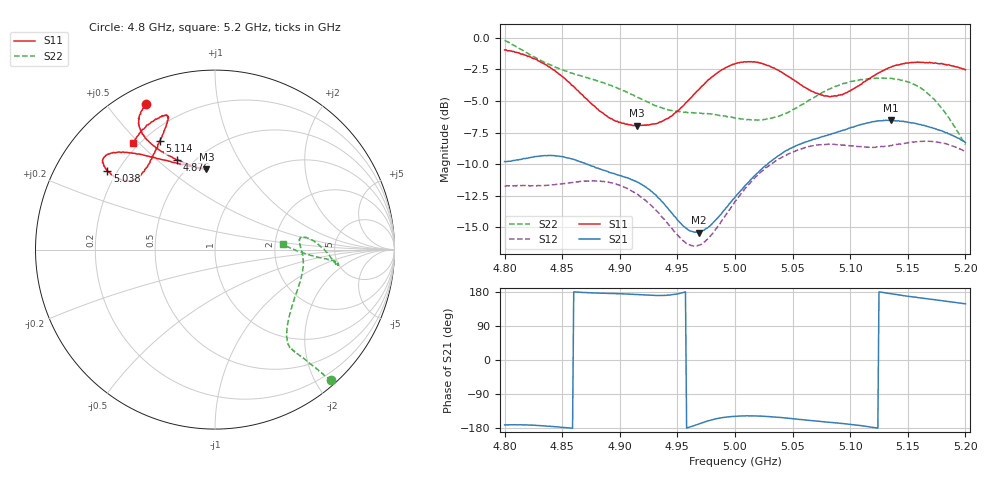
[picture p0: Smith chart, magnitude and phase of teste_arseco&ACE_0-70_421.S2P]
! Network Analyzer HP8722D
! Hewlett-Packard
! Data name: Linha & Wilkinson
! Saver's name: Rodrigo Anjos
! Comments: Teste da utilização de aquisição
! continua pelo VNA HP8722D
! Time and date: 8/5/2025 16:16
!  Frequency  S11  S21  S12  S22
# HZ  S  MA R 50
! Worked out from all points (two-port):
!   401 points, 4.8 GHz to 5.2 GHz, reference 50 ohm
!   highest |S21| = -6.52 dB at 5.135 GHz (marker M1); lowest = -15.4 dB at 4.969 GHz (marker M2)
!   |S21| within 3 dB of the highest: 4.821 GHz to 4.855 GHz (34.4 MHz wide, 0.711 % of centre); 5.035 GHz to end of sweep
!   lowest |S11| = -7.0 dB at 4.915 GHz (marker M3), VSWR 2.63, Z = 30.8 + j34.4 ohm
!   |S11| at or under -10 dB: nowhere
!   |S22| runs from -8.5 to -0.2 dB; largest |S21 - S12| = 0.83
!   S11 on the Smith chart (normalised r, x): 4.8 GHz: 0.08, +0.63; 4.876 GHz: 0.41, +0.58; 5.038 GHz: 0.16, +0.32; 5.114 GHz: 0.26, +0.58; 5.2 GHz: 0.18, +0.48
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4.8e9  0.8955 115.3  0.3236 -171.3  0.2592 -86.5  0.9758 -48.3
4.819e9  0.8507 119.8  0.3335 -171.4  0.2591 -82.5  0.8734 -49.6
4.835e9  0.7859 121.9  0.3417 -174.0  0.2603 -77.2  0.7984 -50.6
4.851e9  0.6967 121.3  0.3376 -178.0  0.2647 -72.0  0.7453 -51.5
4.867e9  0.597 117.1  0.3214 178.4  0.2701 -68.5  0.705 -52.3
4.876e9  0.5448 113.2  0.3104 177.2  0.2713 -67.6  0.6852 -52.7
4.899e9  0.4625 100.8  0.2858 174.9  0.2619 -68.1  0.629 -50.5
4.915e9  0.4488 96.1  0.2685 172.5  0.2405 -69.9  0.5828 -46.1
4.934e9  0.4624 100.6  0.2312 170.2  0.202 -70.5  0.5322 -36.4
4.956e9  0.5432 116.2  0.1785 178.7  0.1562 -59.6  0.507 -22.0
4.969e9  0.6261 124.6  0.1694 -168.1  0.1512 -44.9  0.5041 -14.4
5e9  0.7888 137.0  0.2336 -148.7  0.2249 -22.0  0.4808 -0.3
5.018e9  0.8009 141.3  0.287 -147.6  0.2816 -19.7  0.4733 5.5
5.038e9  0.7431 143.8  0.3416 -151.3  0.3317 -20.1  0.4894 8.1
5.067e9  0.6136 141.5  0.3951 -160.1  0.3736 -22.5  0.5745 3.0
5.087e9  0.5897 132.8  0.4202 -165.9  0.3779 -25.5  0.642 -3.3
5.114e9  0.6776 117.1  0.4591 -175.4  0.369 -28.4  0.6858 -7.1
5.134e9  0.7614 110.3  0.4701 175.6  0.3734 -30.6  0.6899 -6.5
5.135e9  0.7644 110.3  0.4723 175.0  0.3744 -30.7  0.691 -6.4
5.162e9  0.7996 112.4  0.4515 163.3  0.3891 -37.6  0.6293 -5.1
5.18e9  0.7891 119.0  0.4271 156.4  0.3837 -43.2  0.523 -3.1
5.2e9  0.7473 127.5  0.385 148.3  0.3542 -48.7  0.3775 4.5
